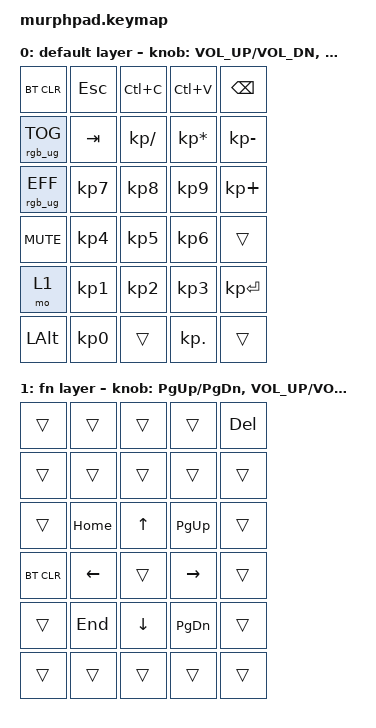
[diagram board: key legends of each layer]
/*
 * Copyright (c) 2021 The ZMK Contributors
 *
 * SPDX-License-Identifier: MIT
 */

#include <behaviors.dtsi>
#include <dt-bindings/zmk/keys.h>
#include <dt-bindings/zmk/bt.h>
#include <dt-bindings/zmk/rgb.h>


#define TIMEOUT 300

/* Layer Names*/
#define DEFAULT 0
#define FN      1

&encoder_1 {
    status = "okay";
};

&encoder_2 {
    status = "okay";
};

/* Combo Definitions*/
/ {
    combos {
        compatible = "zmk,combos";
        combo_btclr {
            timeout-ms = <TIMEOUT>;
            key-positions = <1 6>;
            bindings = <&bt BT_CLR>;
        };
        combo_reset {
            timeout-ms = <TIMEOUT>;
            key-positions = <1 3>;
            bindings = <&sys_reset>;
        };
        combo_bootloader {
            timeout-ms = <TIMEOUT>;
            key-positions = <1 2>;
            bindings = <&bootloader>;
        };
        combo_bt_nxt {
            timeout-ms = <TIMEOUT>;
            key-positions = <1 4>;
            bindings = <&bt BT_NXT>;
        };
    };

    sensors {
        compatible = "zmk,keymap-sensors";
        sensors = <&encoder_1 &encoder_2>;
    };


    keymap0: keymap {
        compatible = "zmk,keymap";

        default_layer {
        label = "default layer";
            bindings = <
                &bt BT_CLR       &kp ESC      &kp LC(C)          &kp LC(V)         &kp BSPC   
                &rgb_ug RGB_TOG  &kp TAB      &kp KP_DIVIDE   &kp KP_MULTIPLY   &kp KP_MINUS    
                &rgb_ug RGB_EFF  &kp KP_N7    &kp KP_N8       &kp KP_N9         &kp KP_PLUS   
                &kp C_MUTE       &kp KP_N4    &kp KP_N5       &kp KP_N6         &trans
                &mo 1            &kp KP_N1    &kp KP_N2       &kp KP_N3         &kp KP_ENTER
                &kp LALT           &kp KP_N0    &trans          &kp KP_DOT        &trans
            >;
            sensor-bindings = <&inc_dec_kp C_VOL_UP C_VOL_DN &inc_dec_kp PG_UP PG_DN>;

        }; 

        fn_layer {
        label = "fn layer";
            bindings = <
                &trans      &trans          &trans          &trans           &kp DELETE  
                &trans      &trans          &trans          &trans           &trans     
                &trans      &kp HOME        &kp UP_ARROW    &kp PAGE_UP      &trans
                &bt BT_CLR  &kp LEFT_ARROW  &trans          &kp RIGHT_ARROW  &trans    
                &trans      &kp END         &kp DOWN_ARROW  &kp PAGE_DOWN    &trans
                &trans      &trans          &trans          &trans           &trans           
            >;  
            sensor-bindings = <&inc_dec_kp PG_UP PG_DN &inc_dec_kp C_VOL_UP C_VOL_DN>;

        };
    };
};
